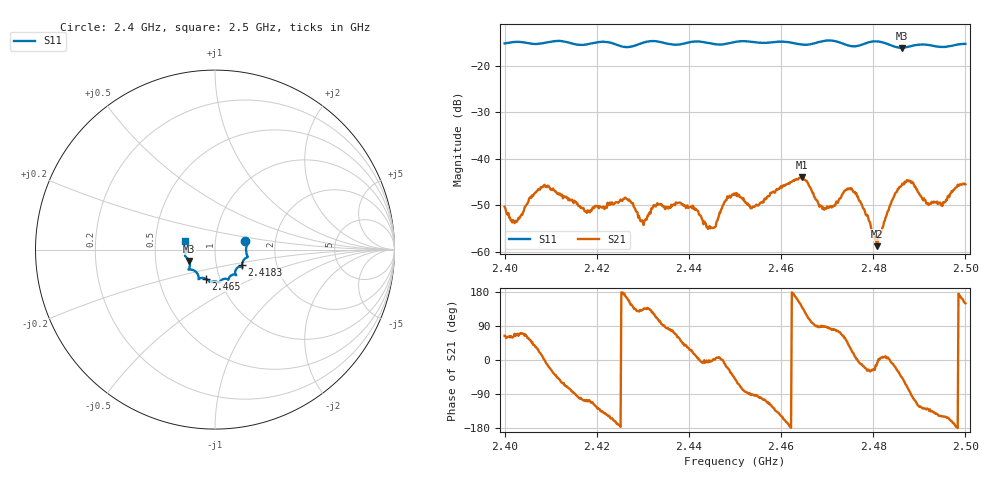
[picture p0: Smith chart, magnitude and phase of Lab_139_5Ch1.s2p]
# Hz S RI R 50
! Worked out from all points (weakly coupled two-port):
!   601 points, 2.4 GHz to 2.5 GHz, reference 50 ohm
!   highest |S21| = -43.99 dB at 2.4645 GHz (marker M1); lowest = -58.8 dB at 2.4808 GHz (marker M2)
!   lowest |S11| = -16.1 dB at 2.4862 GHz (marker M3), VSWR 1.37, Z = 37.2 - j4.83 ohm
!   |S11| at or under -10 dB: start of sweep to end of sweep
!   S12 and S22 are empty: the file has one direction only
!   S11 on the Smith chart (normalised r, x): 2.4 GHz: 1.40, +0.14; 2.4183 GHz: 1.33, -0.24; 2.465 GHz: 0.86, -0.28; 2.5 GHz: 0.71, +0.07
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2.4e9  0.1689 0.047  0.00133 0.00274  0 0  0 0
2.402667e9  0.1789 0.0349  0.000839 0.00193  0 0  0 0
2.409e9  0.1768 -0.0267  0.00502 -0.000708  0 0  0 0
2.416667e9  0.1545 -0.068  -0.000656 -0.00291  0 0  0 0
2.418333e9  0.1501 -0.0866  -0.00074 -0.00265  0 0  0 0
2.4265e9  0.1216 -0.1038  -0.00357 0.00102  0 0  0 0
2.43e9  0.1138 -0.1369  -0.00141 0.00153  0 0  0 0
2.433333e9  0.1173 -0.1409  -0.000956 0.00307  0 0  0 0
2.440667e9  0.0754 -0.1662  0.00272 0.00112  0 0  0 0
2.445167e9  0.0607 -0.1623  0.0018 2.04e-05  0 0  0 0
2.45e9  0.0259 -0.1799  0.00268 -0.00326  0 0  0 0
2.453833e9  0.0154 -0.1812  -7.35e-05 -0.00306  0 0  0 0
2.4645e9  -0.0473 -0.1637  -0.00487 0.00403  0 0  0 0
2.465e9  -0.0524 -0.1614  -0.00389 0.0045  0 0  0 0
2.466667e9  -0.0712 -0.1576  -0.000675 0.00447  0 0  0 0
2.4695e9  -0.0905 -0.1639  6.07e-05 0.00294  0 0  0 0
2.4755e9  -0.1053 -0.1247  0.00431 0.0016  0 0  0 0
2.480833e9  -0.1476 -0.1105  0.00113 -0.000191  0 0  0 0
2.483333e9  -0.141 -0.0967  0.00278 0.000189  0 0  0 0
2.486167e9  -0.1437 -0.0634  0.00367 -0.00365  0 0  0 0
2.4945e9  -0.1608 -0.00303  -0.00285 -0.00183  0 0  0 0
2.5e9  -0.1667 0.047  -0.00458 0.00268  0 0  0 0
